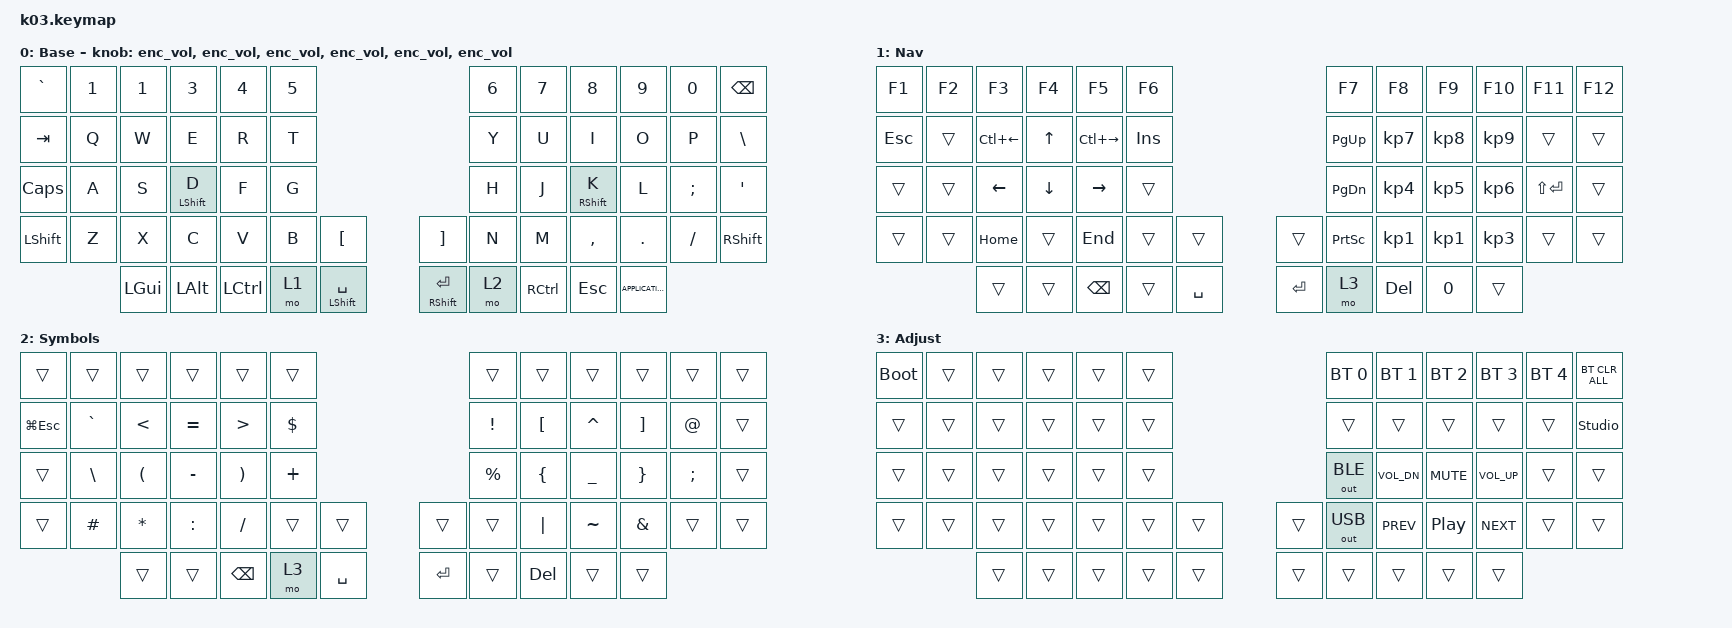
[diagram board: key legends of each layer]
#include "keys_ru.h"
#include <behaviors.dtsi>
#include <dt-bindings/zmk/bt.h>
#include <dt-bindings/zmk/keys.h>
#include <dt-bindings/zmk/outputs.h>

&mt {
    quick-tap-ms = <200>;
    require-prior-idle-ms = <125>;
    flavor = "tap-preferred";
};

/ {
    behaviors {
        enc_vol: enc_vol {
            compatible = "zmk,behavior-sensor-rotate";
            label = "ENC_VOL";
            #sensor-binding-cells = <0>;
            bindings = <&kp C_VOL_UP>, <&kp C_VOL_DN>;
        };

        hml: home_row_mod_left {
            compatible = "zmk,behavior-hold-tap";
            bindings = <&kp>, <&kp>;

            #binding-cells = <2>;
            tapping-term-ms = <170>;
            flavor = "balanced";
            hold-trigger-key-positions = <6 7 8 9 10 11 18 19 20 21 22 23 30 31 32 33 34 35 43 44 45 46 47 48 49 55 56 57 58 59>;
            hold-trigger-on-release;
        };

        hmr: home_row_mod_right {
            compatible = "zmk,behavior-hold-tap";
            bindings = <&kp>, <&kp>;

            #binding-cells = <2>;
            tapping-term-ms = <170>;
            flavor = "balanced";
            hold-trigger-key-positions = <0 1 2 3 4 5 12 13 14 15 16 17 24 25 26 27 28 29 36 37 38 39 40 41 42 50 51 52 53 54>;
            hold-trigger-on-release;
        };

        em: enter-tap-mode {
            compatible = "zmk,behavior-hold-tap";
            bindings = <&kp>, <&kp>;

            #binding-cells = <2>;
            tapping-term-ms = <170>;
            flavor = "tap-preferred";
            hold-trigger-key-positions = <0 1 2 3 4 5 12 13 14 15 16 17 24 25 26 27 28 29 36 37 38 39 40 41 42 50 51 52 53 54>;
            hold-trigger-on-release;
        };
    };

    keymap {
        compatible = "zmk,keymap";

        base {
            bindings = <
&kp GRAVE     &kp N1  &kp N1    &kp N3             &kp N4     &kp N5                                                  &kp N6  &kp N7     &kp N8              &kp N9             &kp N0    &kp BSPC
&kp TAB       &kp Q   &kp W     &kp E              &kp R      &kp T                                                   &kp Y   &kp U      &kp I               &kp O              &kp P     &kp BSLH
&kp CAPSLOCK  &kp A   &kp S     &hml LEFT_SHIFT D  &kp F      &kp G                                                   &kp H   &kp J      &hmr RIGHT_SHIFT K  &kp L              &kp SEMI  &kp SQT
&kp LSHFT     &kp Z   &kp X     &kp C              &kp V      &kp B   &kp LBKT                 &kp RBKT               &kp N   &kp M      &kp COMMA           &kp DOT            &kp FSLH  &kp RSHFT
                      &kp LGUI  &kp LALT           &kp LCTRL  &mo 1   &hml LEFT_SHIFT SPACE    &em RIGHT_SHIFT ENTER  &mo 2   &kp RCTRL  &kp ESC             &kp K_APPLICATION
            >;

            display-name = "Base";
            sensor-bindings =
                <&enc_vol>,
                <&enc_vol>,
                <&enc_vol>,
                <&enc_vol>,
                <&enc_vol>,
                <&enc_vol>;
        };

        nav {
            bindings = <
&kp F1      &kp F2  &kp F3              &kp F4    &kp F5               &kp F6                           &kp F7           &kp F8           &kp F9           &kp F10          &kp F11        &kp F12
&kp ESCAPE  &trans  &kp LC(LEFT_ARROW)  &kp UP    &kp LC(RIGHT_ARROW)  &kp INS                          &kp PG_UP        &kp KP_NUMBER_7  &kp KP_NUMBER_8  &kp KP_NUMBER_9  &trans         &trans
&trans      &trans  &kp LEFT            &kp DOWN  &kp RIGHT            &trans                           &kp PG_DN        &kp KP_NUMBER_4  &kp KP_NUMBER_5  &kp KP_NUMBER_6  &kp LS(ENTER)  &trans
&trans      &trans  &kp HOME            &trans    &kp END              &trans   &trans       &trans     &kp PRINTSCREEN  &kp KP_NUMBER_1  &kp KP_NUMBER_1  &kp KP_NUMBER_3  &trans         &trans
                    &trans              &trans    &kp BACKSPACE        &trans   &kp SPACE    &kp ENTER  &mo 3            &kp DELETE       &kp N0           &trans
            >;

            display-name = "Nav";
        };

        sym {
            bindings = <
&trans          &trans     &trans    &trans     &trans         &trans                              &trans     &trans      &trans     &trans    &trans       &trans
&kp LG(ESCAPE)  &kp GRAVE  &kp LT    &kp EQUAL  &kp GT         &kp DOLLAR                          &kp EXCL   &kp LBKT    &kp CARET  &kp RBKT  &kp AT_SIGN  &trans
&trans          &kp BSLH   &kp LPAR  &kp MINUS  &kp RPAR       &kp PLUS                            &kp PRCNT  &kp LBRC    &kp UNDER  &kp RBRC  &kp SEMI     &trans
&trans          &kp HASH   &kp STAR  &kp COLON  &kp FSLH       &trans      &trans       &trans     &trans     &kp PIPE    &kp TILDE  &kp AMPS  &trans       &trans
                           &trans    &trans     &kp BACKSPACE  &mo 3       &kp SPACE    &kp ENTER  &trans     &kp DELETE  &trans     &trans
            >;

            display-name = "Symbols";
        };

        adj {
            bindings = <
&bootloader  &trans  &trans  &trans  &trans  &trans                    &bt BT_SEL 0  &bt BT_SEL 1  &bt BT_SEL 2      &bt BT_SEL 3  &bt BT_SEL 4  &bt BT_CLR_ALL
&trans       &trans  &trans  &trans  &trans  &trans                    &trans        &trans        &trans            &trans        &trans        &studio_unlock
&trans       &trans  &trans  &trans  &trans  &trans                    &out OUT_BLE  &kp C_VOL_DN  &kp C_MUTE        &kp C_VOL_UP  &trans        &trans
&trans       &trans  &trans  &trans  &trans  &trans  &trans    &trans  &out OUT_USB  &kp C_PREV    &kp C_PLAY_PAUSE  &kp C_NEXT    &trans        &trans
                     &trans  &trans  &trans  &trans  &trans    &trans  &trans        &trans        &trans            &trans
            >;

            display-name = "Adjust";
        };
    };
};
